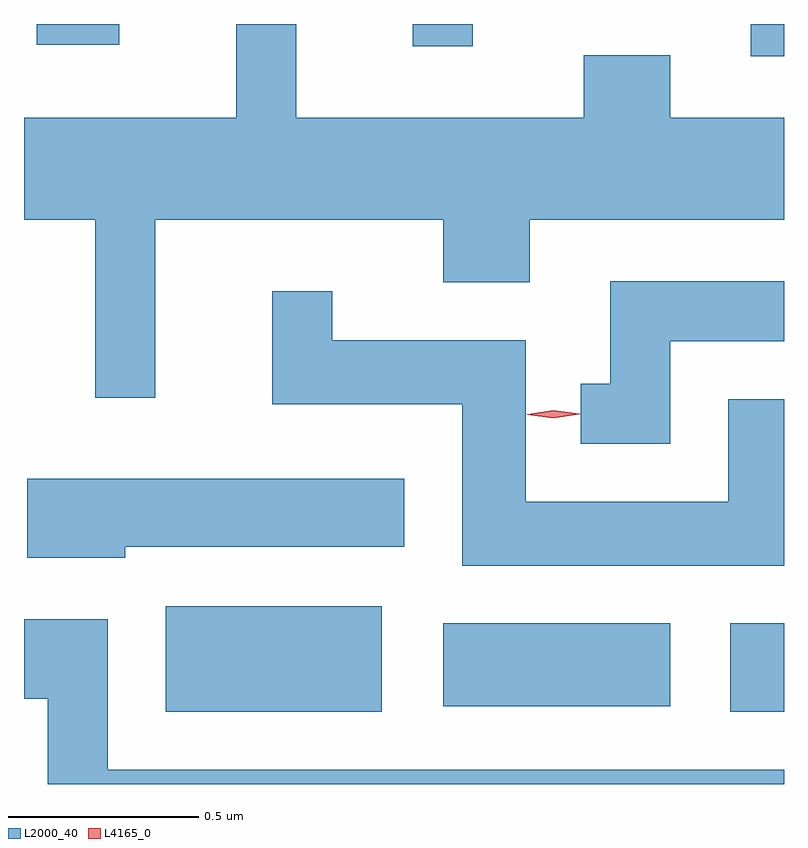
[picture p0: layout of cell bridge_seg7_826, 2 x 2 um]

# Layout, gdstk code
import gdstk
lib = gdstk.Library(unit=1e-6, precision=1e-09)
def R(c, l, rs):  # rectangles x0, y0, x1, y1
    for r in rs: c.add(gdstk.rectangle(r[:2], r[2:], *l))
def P(c, l, *ps):  # polygons
    for p in ps: c.add(gdstk.Polygon(p, *l))
L2000_40 = (2000, 40)
L4165_0 = (4165, 0)

bridge_seg7_826 = lib.new_cell('bridge_seg7_826')
R(bridge_seg7_826, L2000_40, [(349.201,1744.101,349.769,1744.379), (350.686,1744.101,350.828,1744.334), (349.931,1744.116,350.529,1744.334), (350.741,1745.826,350.828,1745.911), (349.851,1745.853,350.009,1745.911), (348.861,1745.856,349.079,1745.911)])
P(bridge_seg7_826, L2000_40, [(349.174,1745.396),(349.931,1745.396),(349.931,1745.231),(350.159,1745.231),(350.159,1745.396),(350.828,1745.396),(350.828,1745.664),(350.529,1745.664),(350.529,1745.829),(350.301,1745.829),(350.301,1745.664),(349.544,1745.664),(349.544,1745.911),(349.386,1745.911),(349.386,1745.664),(348.828,1745.664),(348.828,1745.396),(349.016,1745.396),(349.016,1744.928),(349.174,1744.928)],
  [(350.529,1745.076),(350.828,1745.076),(350.828,1745.234),(350.371,1745.234),(350.371,1744.964),(350.293,1744.964),(350.293,1744.806),(350.529,1744.806)],
  [(350.828,1744.924),(350.681,1744.924),(350.681,1744.654),(350.149,1744.654),(350.149,1745.079),(349.639,1745.079),(349.639,1745.208),(349.481,1745.208),(349.481,1744.911),(349.981,1744.911),(349.981,1744.486),(350.828,1744.486)],
  [(349.094,1744.536),(349.829,1744.536),(349.829,1744.714),(348.836,1744.714),(348.836,1744.506),(349.094,1744.506)],
  [(350.828,1743.949),(349.049,1743.949),(349.049,1744.344),(348.828,1744.344),(348.828,1744.136),(348.891,1744.136),(348.891,1743.911),(350.828,1743.911)])
P(bridge_seg7_826, L4165_0, [(350.221,1744.874),(350.152,1744.883),(350.152,1744.884),(350.152,1744.884),(350.221,1744.894),(350.291,1744.885),(350.291,1744.884),(350.291,1744.884)])

lib.write_gds('bridge_seg7_826.gds')
